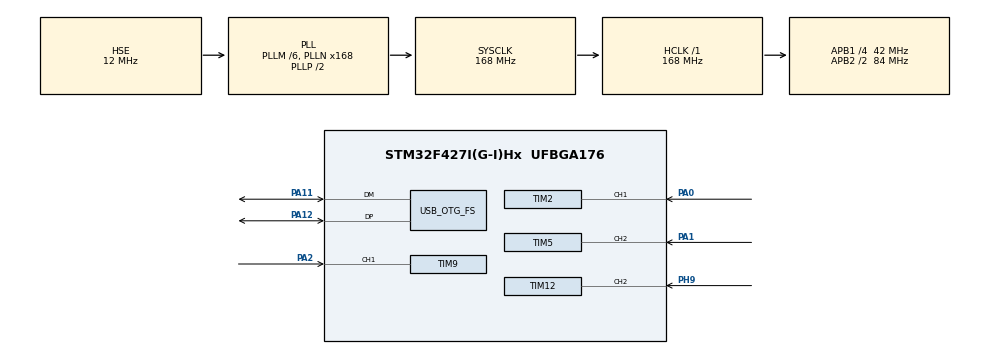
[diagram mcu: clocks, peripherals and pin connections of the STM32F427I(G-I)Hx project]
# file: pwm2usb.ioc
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Mcu.Family=STM32F4
Mcu.Name=STM32F427I(G-I)Hx
Mcu.Package=UFBGA176
NVIC.OTG_FS_IRQn=true\:0\:0\:false\:false\:true\:false
NVIC.PriorityGroup=NVIC_PRIORITYGROUP_4
NVIC.TIM1_BRK_TIM9_IRQn=true\:0\:0\:false\:false\:true\:true
NVIC.TIM2_IRQn=true\:0\:0\:false\:false\:true\:true
NVIC.TIM5_IRQn=true\:0\:0\:false\:false\:true\:true
NVIC.TIM8_BRK_TIM12_IRQn=true\:0\:0\:false\:false\:true\:true
PA0/WKUP.Signal=S_TIM2_CH1_ETR
PA1.Signal=S_TIM5_CH2
PA11.Mode=Device_Only
PA11.Signal=USB_OTG_FS_DM
PA12.GPIO_PuPd=GPIO_NOPULL
PA12.Mode=Device_Only
PA12.Signal=USB_OTG_FS_DP
PA13.Mode=Serial_Wire
PA13.Signal=SYS_JTMS-SWDIO
PA14.Mode=Serial_Wire
PA14.Signal=SYS_JTCK-SWCLK
PA2.Signal=S_TIM9_CH1
PH0/OSC_IN.Mode=HSE-External-Oscillator
PH0/OSC_IN.Signal=RCC_OSC_IN
PH1/OSC_OUT.Mode=HSE-External-Oscillator
PH1/OSC_OUT.Signal=RCC_OSC_OUT
PH9.Signal=S_TIM12_CH2
ProjectManager.HeapSize=0x200
ProjectManager.StackSize=0x400
ProjectManager.TargetToolchain=Makefile
RCC.48MHZClocksFreq_Value=48000000
RCC.AHBFreq_Value=168000000
RCC.APB1CLKDivider=RCC_HCLK_DIV4
RCC.APB1Freq_Value=42000000
RCC.APB1TimFreq_Value=84000000
RCC.APB2CLKDivider=RCC_HCLK_DIV2
RCC.APB2Freq_Value=84000000
RCC.APB2TimFreq_Value=168000000
RCC.CortexFreq_Value=168000000
RCC.HCLKFreq_Value=168000000
RCC.HSE_VALUE=12000000
RCC.HSI_VALUE=16000000
RCC.LSE_VALUE=32768
RCC.PLLM=6
RCC.PLLN=168
RCC.PLLQ=7
RCC.SYSCLKFreq_VALUE=168000000
RCC.SYSCLKSource=RCC_SYSCLKSOURCE_PLLCLK
RCC.VCOOutputFreq_Value=336000000
SH.S_TIM12_CH2.0=TIM12_CH2,TriggerSource_TI2FP2
SH.S_TIM12_CH2.1=TIM12_CH2,Input_Capture2_from_TI2
SH.S_TIM12_CH2.2=TIM12_CH2,Input_Capture1_from_TI2
SH.S_TIM2_CH1_ETR.0=TIM2_CH1,Input_Capture1_from_TI1
SH.S_TIM2_CH1_ETR.1=TIM2_CH1,TriggerSource_TI1FP1
SH.S_TIM2_CH1_ETR.2=TIM2_CH1,Input_Capture2_from_TI1
SH.S_TIM5_CH2.0=TIM5_CH2,TriggerSource_TI2FP2
SH.S_TIM5_CH2.1=TIM5_CH2,Input_Capture2_from_TI2
SH.S_TIM5_CH2.2=TIM5_CH2,Input_Capture1_from_TI2
SH.S_TIM9_CH1.0=TIM9_CH1,TriggerSource_TI1FP1
SH.S_TIM9_CH1.1=TIM9_CH1,Input_Capture1_from_TI1
SH.S_TIM9_CH1.2=TIM9_CH1,Input_Capture2_from_TI1
TIM12.Channel-Input_Capture1_from_TI2=TIM_CHANNEL_1
TIM12.Channel-Input_Capture2_from_TI2=TIM_CHANNEL_2
TIM12.ICPolarity_CH1=TIM_INPUTCHANNELPOLARITY_FALLING
TIM12.Period=10000
TIM12.Prescaler=83
TIM2.Channel-Input_Capture1_from_TI1=TIM_CHANNEL_1
TIM2.Channel-Input_Capture2_from_TI1=TIM_CHANNEL_2
TIM2.ICPolarity_CH2=TIM_INPUTCHANNELPOLARITY_FALLING
TIM2.Period=10000
TIM2.Prescaler=83
TIM5.Channel-Input_Capture1_from_TI2=TIM_CHANNEL_1
TIM5.Channel-Input_Capture2_from_TI2=TIM_CHANNEL_2
TIM5.ICPolarity_CH1=TIM_INPUTCHANNELPOLARITY_FALLING
TIM5.Period=10000
TIM5.Prescaler=83
TIM9.Channel-Input_Capture1_from_TI1=TIM_CHANNEL_1
TIM9.Channel-Input_Capture2_from_TI1=TIM_CHANNEL_2
TIM9.ICPolarity_CH2=TIM_INPUTCHANNELPOLARITY_FALLING
TIM9.Period=10000
TIM9.Prescaler=167
USB_DEVICE.CLASS_NAME_FS=CUSTOMHID
USB_DEVICE.USBD_CUSTOMHID_OUTREPORT_BUF_SIZE-CUSTOM_HID_FS=8
USB_DEVICE.USBD_CUSTOM_HID_REPORT_DESC_SIZE-CUSTOM_HID_FS=32
USB_DEVICE.VirtualMode-CUSTOM_HID_FS=CustomHid
USB_DEVICE.VirtualModeFS=Custom_Hid_FS
USB_OTG_FS.VirtualMode=Device_Only
VP_TIM12_VS_ClockSourceINT.Mode=Internal
VP_TIM12_VS_ControllerModeReset.Mode=Reset Mode
VP_TIM2_VS_ClockSourceINT.Mode=Internal
VP_TIM2_VS_ControllerModeReset.Mode=Reset Mode
VP_TIM5_VS_ClockSourceINT.Mode=Internal
VP_TIM5_VS_ControllerModeReset.Mode=Reset Mode
VP_TIM9_VS_ClockSourceINT.Mode=Internal
VP_TIM9_VS_ControllerModeReset.Mode=Reset Mode
VP_USB_DEVICE_VS_USB_DEVICE_CUSTOM_HID_FS.Mode=CUSTOM_HID_FS
board=custom

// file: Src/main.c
/**
  ******************************************************************************
  * @file           : main.c
  * @brief          : Main program body
  ******************************************************************************
  * This notice applies to any and all portions of this file
  * that are not between comment pairs USER CODE BEGIN and
  * USER CODE END. Other portions of this file, whether
  * inserted by the user or by software development tools
  * are owned by their respective copyright owners.
  *
  * Copyright (c) 2018 STMicroelectronics International N.V.
  * All rights reserved.
  *
  * Redistribution and use in source and binary forms, with or without
  * modification, are permitted, provided that the following conditions are met:
  *
  * 1. Redistribution of source code must retain the above copyright notice,
  *    this list of conditions and the following disclaimer.
  * 2. Redistributions in binary form must reproduce the above copyright notice,
  *    this list of conditions and the following disclaimer in the documentation
  *    and/or other materials provided with the distribution.
  * 3. Neither the name of STMicroelectronics nor the names of other
  *    contributors to this software may be used to endorse or promote products
  *    derived from this software without specific written permission.
  * 4. This software, including modifications and/or derivative works of this
  *    software, must execute solely and exclusively on microcontroller or
  *    microprocessor devices manufactured by or for STMicroelectronics.
  * 5. Redistribution and use of this software other than as permitted under
  *    this license is void and will automatically terminate your rights under
  *    this license.
  *
  * THIS SOFTWARE IS PROVIDED BY STMICROELECTRONICS AND CONTRIBUTORS "AS IS"
  * AND ANY EXPRESS, IMPLIED OR STATUTORY WARRANTIES, INCLUDING, BUT NOT
  * LIMITED TO, THE IMPLIED WARRANTIES OF MERCHANTABILITY, FITNESS FOR A
  * PARTICULAR PURPOSE AND NON-INFRINGEMENT OF THIRD PARTY INTELLECTUAL PROPERTY
  * RIGHTS ARE DISCLAIMED TO THE FULLEST EXTENT PERMITTED BY LAW. IN NO EVENT
  * SHALL STMICROELECTRONICS OR CONTRIBUTORS BE LIABLE FOR ANY DIRECT, INDIRECT,
  * INCIDENTAL, SPECIAL, EXEMPLARY, OR CONSEQUENTIAL DAMAGES (INCLUDING, BUT NOT
  * LIMITED TO, PROCUREMENT OF SUBSTITUTE GOODS OR SERVICES; LOSS OF USE, DATA,
  * OR PROFITS; OR BUSINESS INTERRUPTION) HOWEVER CAUSED AND ON ANY THEORY OF
  * LIABILITY, WHETHER IN CONTRACT, STRICT LIABILITY, OR TORT (INCLUDING
  * NEGLIGENCE OR OTHERWISE) ARISING IN ANY WAY OUT OF THE USE OF THIS SOFTWARE,
  * EVEN IF ADVISED OF THE POSSIBILITY OF SUCH DAMAGE.
  *
  ******************************************************************************
  */
#include "main.h"
#include "stm32f4xx_hal.h"
#include "usb_device.h"

/* USER CODE BEGIN Includes */
#include "usbd_customhid.h"
/* USER CODE END Includes */

TIM_HandleTypeDef htim2;
TIM_HandleTypeDef htim5;
TIM_HandleTypeDef htim9;
TIM_HandleTypeDef htim12;

/* USER CODE BEGIN PV */
/* Private variables ---------------------------------------------------------*/

/* USER CODE END PV */

void SystemClock_Config(void);
static void MX_GPIO_Init(void);
static void MX_TIM2_Init(void);
static void MX_TIM12_Init(void);
static void MX_TIM5_Init(void);
static void MX_TIM9_Init(void);

/* USER CODE BEGIN PFP */
/* Private function prototypes -----------------------------------------------*/

/* USER CODE END PFP */

/* USER CODE BEGIN 0 */
uint16_t rc_data[4];
/* USER CODE END 0 */

int main(void)
{

  /* MCU Configuration----------------------------------------------------------*/

  /* Reset of all peripherals, Initializes the Flash interface and the Systick. */
  HAL_Init();

  /* Configure the system clock */
  SystemClock_Config();

  /* Initialize all configured peripherals */
  MX_GPIO_Init();
  MX_TIM2_Init();
  MX_TIM12_Init();
  MX_TIM5_Init();
  MX_TIM9_Init();
  MX_USB_DEVICE_Init();
  /* USER CODE BEGIN 2 */
  HAL_TIM_IC_Start_IT(&htim2, TIM_CHANNEL_1);
  HAL_TIM_IC_Start_IT(&htim2, TIM_CHANNEL_2);
  HAL_TIM_IC_Start_IT(&htim12, TIM_CHANNEL_1);
  HAL_TIM_IC_Start_IT(&htim12, TIM_CHANNEL_2);
  HAL_TIM_IC_Start_IT(&htim5, TIM_CHANNEL_1);
  HAL_TIM_IC_Start_IT(&htim5, TIM_CHANNEL_2);
  HAL_TIM_IC_Start_IT(&htim9, TIM_CHANNEL_1);
  HAL_TIM_IC_Start_IT(&htim9, TIM_CHANNEL_2);
  /* USER CODE END 2 */

  /* Infinite loop */
  /* USER CODE BEGIN WHILE */
  while (1)
  {
    USBD_CUSTOM_HID_SendReport(&hUsbDeviceFS, (uint8_t*)rc_data, 8);
  /* USER CODE END WHILE */

  }

}

void SystemClock_Config(void)
{

  RCC_OscInitTypeDef RCC_OscInitStruct;
  RCC_ClkInitTypeDef RCC_ClkInitStruct;

    /**Configure the main internal regulator output voltage
    */
  __HAL_RCC_PWR_CLK_ENABLE();

  __HAL_PWR_VOLTAGESCALING_CONFIG(PWR_REGULATOR_VOLTAGE_SCALE1);

    /**Initializes the CPU, AHB and APB busses clocks
    */
  RCC_OscInitStruct.OscillatorType = RCC_OSCILLATORTYPE_HSE;
  RCC_OscInitStruct.HSEState = RCC_HSE_ON;
  RCC_OscInitStruct.PLL.PLLState = RCC_PLL_ON;
  RCC_OscInitStruct.PLL.PLLSource = RCC_PLLSOURCE_HSE;
  RCC_OscInitStruct.PLL.PLLM = 6;
  RCC_OscInitStruct.PLL.PLLN = 168;
  RCC_OscInitStruct.PLL.PLLP = RCC_PLLP_DIV2;
  RCC_OscInitStruct.PLL.PLLQ = 7;
  if (HAL_RCC_OscConfig(&RCC_OscInitStruct) != HAL_OK)
  {
    _Error_Handler(__FILE__, __LINE__);
  }

    /**Initializes the CPU, AHB and APB busses clocks
    */
  RCC_ClkInitStruct.ClockType = RCC_CLOCKTYPE_HCLK|RCC_CLOCKTYPE_SYSCLK
                              |RCC_CLOCKTYPE_PCLK1|RCC_CLOCKTYPE_PCLK2;
  RCC_ClkInitStruct.SYSCLKSource = RCC_SYSCLKSOURCE_PLLCLK;
  RCC_ClkInitStruct.AHBCLKDivider = RCC_SYSCLK_DIV1;
  RCC_ClkInitStruct.APB1CLKDivider = RCC_HCLK_DIV4;
  RCC_ClkInitStruct.APB2CLKDivider = RCC_HCLK_DIV2;

  if (HAL_RCC_ClockConfig(&RCC_ClkInitStruct, FLASH_LATENCY_5) != HAL_OK)
  {
    _Error_Handler(__FILE__, __LINE__);
  }

    /**Configure the Systick interrupt time
    */
  HAL_SYSTICK_Config(HAL_RCC_GetHCLKFreq()/1000);

    /**Configure the Systick
    */
  HAL_SYSTICK_CLKSourceConfig(SYSTICK_CLKSOURCE_HCLK);

  /* SysTick_IRQn interrupt configuration */
  HAL_NVIC_SetPriority(SysTick_IRQn, 0, 0);
}

/* TIM2 init function */
static void MX_TIM2_Init(void)
{

  TIM_ClockConfigTypeDef sClockSourceConfig;
  TIM_SlaveConfigTypeDef sSlaveConfig;
  TIM_MasterConfigTypeDef sMasterConfig;
  TIM_IC_InitTypeDef sConfigIC;

  htim2.Instance = TIM2;
  htim2.Init.Prescaler = 83;
  htim2.Init.CounterMode = TIM_COUNTERMODE_UP;
  htim2.Init.Period = 10000;
  htim2.Init.ClockDivision = TIM_CLOCKDIVISION_DIV1;
  if (HAL_TIM_Base_Init(&htim2) != HAL_OK)
  {
    _Error_Handler(__FILE__, __LINE__);
  }

  sClockSourceConfig.ClockSource = TIM_CLOCKSOURCE_INTERNAL;
  if (HAL_TIM_ConfigClockSource(&htim2, &sClockSourceConfig) != HAL_OK)
  {
    _Error_Handler(__FILE__, __LINE__);
  }

  if (HAL_TIM_IC_Init(&htim2) != HAL_OK)
  {
    _Error_Handler(__FILE__, __LINE__);
  }

  sSlaveConfig.SlaveMode = TIM_SLAVEMODE_RESET;
  sSlaveConfig.InputTrigger = TIM_TS_TI1FP1;
  sSlaveConfig.TriggerPolarity = TIM_INPUTCHANNELPOLARITY_RISING;
  sSlaveConfig.TriggerFilter = 0;
  if (HAL_TIM_SlaveConfigSynchronization(&htim2, &sSlaveConfig) != HAL_OK)
  {
    _Error_Handler(__FILE__, __LINE__);
  }

  sMasterConfig.MasterOutputTrigger = TIM_TRGO_RESET;
  sMasterConfig.MasterSlaveMode = TIM_MASTERSLAVEMODE_DISABLE;
  if (HAL_TIMEx_MasterConfigSynchronization(&htim2, &sMasterConfig) != HAL_OK)
  {
    _Error_Handler(__FILE__, __LINE__);
  }

  sConfigIC.ICPolarity = TIM_INPUTCHANNELPOLARITY_RISING;
  sConfigIC.ICSelection = TIM_ICSELECTION_DIRECTTI;
  sConfigIC.ICPrescaler = TIM_ICPSC_DIV1;
  sConfigIC.ICFilter = 0;
  if (HAL_TIM_IC_ConfigChannel(&htim2, &sConfigIC, TIM_CHANNEL_1) != HAL_OK)
  {
    _Error_Handler(__FILE__, __LINE__);
  }

  sConfigIC.ICPolarity = TIM_INPUTCHANNELPOLARITY_FALLING;
  sConfigIC.ICSelection = TIM_ICSELECTION_INDIRECTTI;
  if (HAL_TIM_IC_ConfigChannel(&htim2, &sConfigIC, TIM_CHANNEL_2) != HAL_OK)
  {
    _Error_Handler(__FILE__, __LINE__);
  }

}

/* TIM5 init function */
static void MX_TIM5_Init(void)
{

  TIM_ClockConfigTypeDef sClockSourceConfig;
  TIM_SlaveConfigTypeDef sSlaveConfig;
  TIM_MasterConfigTypeDef sMasterConfig;
  TIM_IC_InitTypeDef sConfigIC;

  htim5.Instance = TIM5;
  htim5.Init.Prescaler = 83;
  htim5.Init.CounterMode = TIM_COUNTERMODE_UP;
  htim5.Init.Period = 10000;
  htim5.Init.ClockDivision = TIM_CLOCKDIVISION_DIV1;
  if (HAL_TIM_Base_Init(&htim5) != HAL_OK)
  {
    _Error_Handler(__FILE__, __LINE__);
  }

  sClockSourceConfig.ClockSource = TIM_CLOCKSOURCE_INTERNAL;
  if (HAL_TIM_ConfigClockSource(&htim5, &sClockSourceConfig) != HAL_OK)
  {
    _Error_Handler(__FILE__, __LINE__);
  }

  if (HAL_TIM_IC_Init(&htim5) != HAL_OK)
  {
    _Error_Handler(__FILE__, __LINE__);
  }

  sSlaveConfig.SlaveMode = TIM_SLAVEMODE_RESET;
  sSlaveConfig.InputTrigger = TIM_TS_TI2FP2;
  sSlaveConfig.TriggerPolarity = TIM_INPUTCHANNELPOLARITY_RISING;
  sSlaveConfig.TriggerFilter = 0;
  if (HAL_TIM_SlaveConfigSynchronization(&htim5, &sSlaveConfig) != HAL_OK)
  {
    _Error_Handler(__FILE__, __LINE__);
  }

  sMasterConfig.MasterOutputTrigger = TIM_TRGO_RESET;
  sMasterConfig.MasterSlaveMode = TIM_MASTERSLAVEMODE_DISABLE;
  if (HAL_TIMEx_MasterConfigSynchronization(&htim5, &sMasterConfig) != HAL_OK)
  {
    _Error_Handler(__FILE__, __LINE__);
  }

  sConfigIC.ICPolarity = TIM_INPUTCHANNELPOLARITY_FALLING;
  sConfigIC.ICSelection = TIM_ICSELECTION_INDIRECTTI;
  sConfigIC.ICPrescaler = TIM_ICPSC_DIV1;
  sConfigIC.ICFilter = 0;
  if (HAL_TIM_IC_ConfigChannel(&htim5, &sConfigIC, TIM_CHANNEL_1) != HAL_OK)
  {
    _Error_Handler(__FILE__, __LINE__);
  }

  sConfigIC.ICPolarity = TIM_INPUTCHANNELPOLARITY_RISING;
  sConfigIC.ICSelection = TIM_ICSELECTION_DIRECTTI;
  if (HAL_TIM_IC_ConfigChannel(&htim5, &sConfigIC, TIM_CHANNEL_2) != HAL_OK)
  {
    _Error_Handler(__FILE__, __LINE__);
  }

}

/* TIM9 init function */
static void MX_TIM9_Init(void)
{

  TIM_ClockConfigTypeDef sClockSourceConfig;
  TIM_SlaveConfigTypeDef sSlaveConfig;
  TIM_IC_InitTypeDef sConfigIC;

  htim9.Instance = TIM9;
  htim9.Init.Prescaler = 167;
  htim9.Init.CounterMode = TIM_COUNTERMODE_UP;
  htim9.Init.Period = 10000;
  htim9.Init.ClockDivision = TIM_CLOCKDIVISION_DIV1;
  if (HAL_TIM_Base_Init(&htim9) != HAL_OK)
  {
    _Error_Handler(__FILE__, __LINE__);
  }

  sClockSourceConfig.ClockSource = TIM_CLOCKSOURCE_INTERNAL;
  if (HAL_TIM_ConfigClockSource(&htim9, &sClockSourceConfig) != HAL_OK)
  {
    _Error_Handler(__FILE__, __LINE__);
  }

  if (HAL_TIM_IC_Init(&htim9) != HAL_OK)
  {
    _Error_Handler(__FILE__, __LINE__);
  }

  sSlaveConfig.SlaveMode = TIM_SLAVEMODE_RESET;
  sSlaveConfig.InputTrigger = TIM_TS_TI1FP1;
  sSlaveConfig.TriggerPolarity = TIM_INPUTCHANNELPOLARITY_RISING;
  sSlaveConfig.TriggerFilter = 0;
  if (HAL_TIM_SlaveConfigSynchronization(&htim9, &sSlaveConfig) != HAL_OK)
  {
    _Error_Handler(__FILE__, __LINE__);
  }

  sConfigIC.ICPolarity = TIM_INPUTCHANNELPOLARITY_RISING;
  sConfigIC.ICSelection = TIM_ICSELECTION_DIRECTTI;
  sConfigIC.ICPrescaler = TIM_ICPSC_DIV1;
  sConfigIC.ICFilter = 0;
  if (HAL_TIM_IC_ConfigChannel(&htim9, &sConfigIC, TIM_CHANNEL_1) != HAL_OK)
  {
    _Error_Handler(__FILE__, __LINE__);
  }

  sConfigIC.ICPolarity = TIM_INPUTCHANNELPOLARITY_FALLING;
  sConfigIC.ICSelection = TIM_ICSELECTION_INDIRECTTI;
  if (HAL_TIM_IC_ConfigChannel(&htim9, &sConfigIC, TIM_CHANNEL_2) != HAL_OK)
  {
    _Error_Handler(__FILE__, __LINE__);
  }

}

/* TIM12 init function */
static void MX_TIM12_Init(void)
{

  TIM_ClockConfigTypeDef sClockSourceConfig;
  TIM_SlaveConfigTypeDef sSlaveConfig;
  TIM_IC_InitTypeDef sConfigIC;

  htim12.Instance = TIM12;
  htim12.Init.Prescaler = 83;
  htim12.Init.CounterMode = TIM_COUNTERMODE_UP;
  htim12.Init.Period = 10000;
  htim12.Init.ClockDivision = TIM_CLOCKDIVISION_DIV1;
  if (HAL_TIM_Base_Init(&htim12) != HAL_OK)
  {
    _Error_Handler(__FILE__, __LINE__);
  }

  sClockSourceConfig.ClockSource = TIM_CLOCKSOURCE_INTERNAL;
  if (HAL_TIM_ConfigClockSource(&htim12, &sClockSourceConfig) != HAL_OK)
  {
    _Error_Handler(__FILE__, __LINE__);
  }

  if (HAL_TIM_IC_Init(&htim12) != HAL_OK)
  {
    _Error_Handler(__FILE__, __LINE__);
  }

  sSlaveConfig.SlaveMode = TIM_SLAVEMODE_RESET;
  sSlaveConfig.InputTrigger = TIM_TS_TI2FP2;
  sSlaveConfig.TriggerPolarity = TIM_INPUTCHANNELPOLARITY_RISING;
  sSlaveConfig.TriggerFilter = 0;
  if (HAL_TIM_SlaveConfigSynchronization(&htim12, &sSlaveConfig) != HAL_OK)
  {
    _Error_Handler(__FILE__, __LINE__);
  }

  sConfigIC.ICPolarity = TIM_INPUTCHANNELPOLARITY_FALLING;
  sConfigIC.ICSelection = TIM_ICSELECTION_INDIRECTTI;
  sConfigIC.ICPrescaler = TIM_ICPSC_DIV1;
  sConfigIC.ICFilter = 0;
  if (HAL_TIM_IC_ConfigChannel(&htim12, &sConfigIC, TIM_CHANNEL_1) != HAL_OK)
  {
    _Error_Handler(__FILE__, __LINE__);
  }

  sConfigIC.ICPolarity = TIM_INPUTCHANNELPOLARITY_RISING;
  sConfigIC.ICSelection = TIM_ICSELECTION_DIRECTTI;
  if (HAL_TIM_IC_ConfigChannel(&htim12, &sConfigIC, TIM_CHANNEL_2) != HAL_OK)
  {
    _Error_Handler(__FILE__, __LINE__);
  }

}

/** Configure pins as
        * Analog
        * Input
        * Output
        * EVENT_OUT
        * EXTI
*/
static void MX_GPIO_Init(void)
{

  /* GPIO Ports Clock Enable */
  __HAL_RCC_GPIOA_CLK_ENABLE();
  __HAL_RCC_GPIOH_CLK_ENABLE();

}

/* USER CODE BEGIN 4 */

void HAL_TIM_IC_CaptureCallback(TIM_HandleTypeDef *htim) {
    if (htim == &htim2 && htim->Channel == HAL_TIM_ACTIVE_CHANNEL_2)
        rc_data[0] = HAL_TIM_ReadCapturedValue(htim, TIM_CHANNEL_2);
    else if (htim == &htim12 && htim->Channel == HAL_TIM_ACTIVE_CHANNEL_1)
        rc_data[1] = HAL_TIM_ReadCapturedValue(htim, TIM_CHANNEL_1);
    else if (htim == &htim5 && htim->Channel == HAL_TIM_ACTIVE_CHANNEL_1)
        rc_data[2] = HAL_TIM_ReadCapturedValue(htim, TIM_CHANNEL_1);
    else if (htim == &htim9 && htim->Channel == HAL_TIM_ACTIVE_CHANNEL_2)
        rc_data[3] = HAL_TIM_ReadCapturedValue(htim, TIM_CHANNEL_2);
}

/* USER CODE END 4 */

void _Error_Handler(char *file, int line)
{
  while(1)
  {
  }
}

/************************ (C) COPYRIGHT STMicroelectronics *****END OF FILE****/
